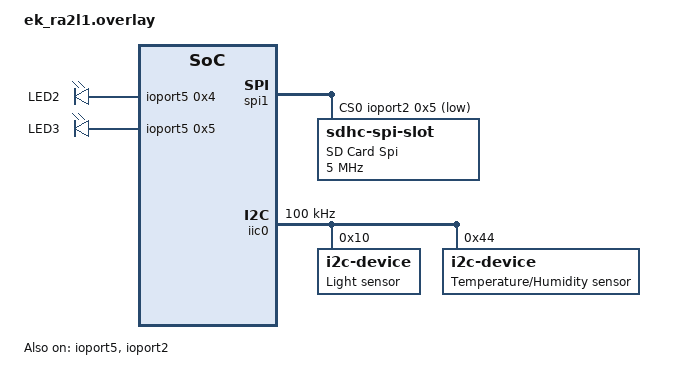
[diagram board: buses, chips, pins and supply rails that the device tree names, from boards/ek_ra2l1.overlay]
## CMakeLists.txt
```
cmake_minimum_required(VERSION 3.20.0)

list(APPEND BOARD_ROOT C:\\Users\\JohanneVIGNY\\ZephyrRTOS\\zephyr)  # Define path to board

set(BUILD_MODE "release" CACHE STRING "Build mode: debug or release")   # set build mode to release by default

if(BUILD_MODE STREQUAL "debug")
  set(CONF_FILE "prj.conf prj_debug.conf")                      # Enable console log via uart on kconfig

  if(BOARD STREQUAL nxg_court)
    set(DTC_OVERLAY_FILE "boards/nxg_court_debug.overlay")        # Enable uart in devicetree
  endif()
elseif(BUILD_MODE STREQUAL "release")
  set(CONF_FILE "prj.conf prj_release.conf")                    # Disable default console log via uart
else()
  message(FATAL_ERROR "Invalid BUILD_MODE: ${BUILD_MODE}. Use 'debug' or 'release'.")   # Error if build mode unknown
endif()

set(CONF_FILE ${CONF_FILE} CACHE INTERNAL "Merged config file list")    # merge default prj.conf with the one to enable or disable uart

find_package(Zephyr)    # pull zephyr and create a tagret named 'app'
project(my-app)     # Must be call after the previous line to avoid conflict
                    # Define my CMake application project

if(BUILD_MODE STREQUAL "debug")                             # If debug mode enable add macro Debug
    target_compile_definitions(app PRIVATE DEBUG=1)
endif()

target_sources(app PRIVATE src/main.c
                            src/lum_sensor.c
                            src/temp_hum_sensor.c
                            src/sd_card.c
                            src/lora.c
                            src/spi.c
                            ../../common/measures_logger/measures_logger.c) 

target_include_directories(app PRIVATE src ../../common/measures_logger/)
```

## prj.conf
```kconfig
CONFIG_I2C=y
CONFIG_GPIO=y
CONFIG_SPI=y
CONFIG_LORA=y
CONFIG_LORAWAN=y
CONFIG_LORAMAC_REGION_EU868=y
CONFIG_SYSTEM_WORKQUEUE_STACK_SIZE=2048
CONFIG_SDHC=y
CONFIG_SPI_SDHC=y
CONFIG_DISK_ACCESS=y
CONFIG_DISK_DRIVERS=y
CONFIG_FILE_SYSTEM=y
CONFIG_FAT_FILESYSTEM_ELM=y

CONFIG_MAIN_STACK_SIZE=4096

# CONFIG_PM_CPU_OPS=y
# CONFIG_PM_CPU_OPS_LOG_LEVEL_DBG=y
# CONFIG_PM_DEVICE_SYSTEM_MANAGED=y
# CONFIG_PM=y
# CONFIG_PM_DEVICE=y
# CONFIG_PM_DEVICE_RUNTIME=y
# CONFIG_PM_DEVICE_LOG_LEVEL_DBG=y

CONFIG_POWEROFF=y
```

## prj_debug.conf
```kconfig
CONFIG_LOG=y
CONFIG_LOG_MODE_IMMEDIATE=y
CONFIG_SPI_LOG_LEVEL_DBG=y
CONFIG_SDHC_LOG_LEVEL_DBG=y
# CONFIG_BOOT_CLEAR_SCREEN=y
# CONFIG_LORA_LOG_LEVEL_DBG=y
CONFIG_LORAWAN_LOG_LEVEL_DBG=y
CONFIG_DEBUG=y
CONFIG_DEBUG_INFO=y

# CONFIG_USE_SEGGER_RTT=y
# CONFIG_LOG_BACKEND_RTT=y
CONFIG_UART_CONSOLE=n
CONFIG_RTT_CONSOLE=y
# CONFIG_LOG_BACKEND_UART=n
```

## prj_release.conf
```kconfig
CONFIG_SERIAL=n
CONFIG_UART_INTERRUPT_DRIVEN=n
CONFIG_UART_CONSOLE=n
CONFIG_CONSOLE=n
CONFIG_BOOT_BANNER=n
CONFIG_PRINTK=n
```

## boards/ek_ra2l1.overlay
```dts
/ {
	leds {
		vcc_sensor: led2 {
			gpios = < &ioport5 0x4 GPIO_ACTIVE_HIGH >;
			label = "LED2";
		};
		vcc_sd: led3 {
			gpios = < &ioport5 0x5 GPIO_ACTIVE_HIGH >;
			label = "LED3";
		};
	};
	soc {
		spi1: spi@40072100 {
			compatible = "renesas,ra-spi";
			#address-cells = < 0x1 >;
			#size-cells = < 0x0 >;
			channel = < 0x1 >;
			interrupts = < 12 0x1 >, < 13 0x1 >, < 14 0x1 >, < 15 0x1 >;
			interrupt-names = "rxi", "txi", "tei", "eri";
			reg = < 0x40072100 0x100 >;
			status = "okay";
			pinctrl-0 = < &spi1_default >;
			pinctrl-names = "default";
			cs-gpios = < &ioport2 0x5 GPIO_ACTIVE_LOW >;

			sd_card: sd_card@0 {
				compatible = "zephyr,sdhc-spi-slot";
				label = "SD Card Spi";
				reg = <0>;
				status = "okay";
				mmc {
					compatible = "zephyr,sdmmc-disk";
					disk-name = "SD";
					status = "okay";
				};
				spi-max-frequency = <5000000>;
			};
		};

		iic0: iic0@40053000 {
			status = "okay";
			compatible = "renesas,ra-iic";
			clock-frequency = < 100000 >;
			reg = < 0x40053000 0x100 >;
			#address-cells = < 0x1 >;
			#size-cells = < 0x0 >;
			interrupts = < 0x8 0x1 >, < 0x9 0x1 >, < 0xa 0x1 >, < 0xb 0x1 >;
			interrupt-names = "rxi", "txi", "tei", "eri";

			channel = < 0x0 >;
			pinctrl-0 = < &iic0_default >;
			pinctrl-names = "default";
			
			lum_sensor: lum_sensor@10 {
				compatible = "i2c-device";
				label = "Light sensor";
				reg = <0x10>;
			};
			temp_sensor: temp_sensor@44 {
				compatible = "i2c-device";
				label = "Temperature/Humidity sensor";
				reg = <0x44>;
			};
		};
	};
};

&ioport5 {
	status = "okay";
};

&ioport2 {
	status = "okay";
};

&pinctrl {
	iic0_default: iic0_default {
		group1 {
			psels = <RA_PSEL(RA_PSEL_I2C, 4, 8)>,	// SCL
				<RA_PSEL(RA_PSEL_I2C, 4, 7)>;		// SDA
		};
	};
	spi1_default: spi1_default{
		group1 {
			psels = <RA_PSEL(RA_PSEL_SPI, 2, 4)>,	// SCK
				<RA_PSEL(RA_PSEL_SPI, 2, 3)>,		// MOSI
				<RA_PSEL(RA_PSEL_SPI, 2, 2)>;		// MISO
		};
	};
};
```

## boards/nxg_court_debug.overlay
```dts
&sercom0 {
	status = "okay";
};
```

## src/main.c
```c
#include "lum_sensor.h"
#include "measures_logger.h"
#include "temp_hum_sensor.h"
#include "sd_card.h"
#include "lora.h"
#include "spi.h"
#include <zephyr/sys/poweroff.h>

static FATFS fat_fs;

static struct fs_mount_t mp = {
    .type = FS_FATFS,
    .fs_data = &fat_fs,
    .mnt_point = "/SD:",
};

void BoardInitPeriph(void)
{
    const struct device *porta = DEVICE_DT_GET(DT_ALIAS(port_a));
    const struct device *portb = DEVICE_DT_GET(DT_ALIAS(port_b));

	// Magnet detector
    gpio_pin_configure(porta, 2, GPIO_OUTPUT_INACTIVE);

	// Micro
    gpio_pin_configure(porta, 10, GPIO_INPUT | GPIO_PULL_DOWN);
    gpio_pin_configure(porta, 7, GPIO_INPUT | GPIO_PULL_DOWN);
    gpio_pin_configure(porta, 6, GPIO_OUTPUT_ACTIVE);

    gpio_pin_configure(portb, 8, GPIO_OUTPUT_INACTIVE);

    gpio_pin_configure(portb, 3, GPIO_OUTPUT_ACTIVE);

    gpio_pin_configure(porta, 22, GPIO_OUTPUT_INACTIVE);

    gpio_pin_configure(porta, 28, GPIO_OUTPUT_INACTIVE);

    gpio_pin_configure(porta, 25, GPIO_OUTPUT_ACTIVE);

    gpio_pin_configure(portb, 2, GPIO_OUTPUT_ACTIVE);

    gpio_pin_configure(porta, 11, GPIO_OUTPUT_INACTIVE);

    // LED
    gpio_pin_configure(porta, 24, GPIO_OUTPUT_ACTIVE);
    gpio_pin_configure(porta, 27, GPIO_OUTPUT_ACTIVE);
    gpio_pin_configure(porta, 18, GPIO_OUTPUT_INACTIVE);
    gpio_pin_configure(porta, 14, GPIO_OUTPUT_ACTIVE);
    gpio_pin_configure(porta, 19, GPIO_OUTPUT_ACTIVE);

    gpio_pin_configure(portb, 9, GPIO_INPUT | GPIO_PULL_DOWN);
    gpio_pin_configure(porta, 23, GPIO_INPUT | GPIO_PULL_DOWN);
    gpio_pin_configure(porta, 5, GPIO_INPUT | GPIO_PULL_DOWN);
    gpio_pin_configure(portb, 23, GPIO_INPUT | GPIO_PULL_DOWN);
    gpio_pin_configure(porta, 3, GPIO_INPUT | GPIO_PULL_UP);

    gpio_pin_configure(portb, 22, GPIO_INPUT | GPIO_PULL_DOWN);

    spi_deinit();
}

bool is_board_ready(const struct i2c_dt_spec *lum_device, const struct i2c_dt_spec *temp_device,
                const struct gpio_dt_spec *vcc_sensor, const struct gpio_dt_spec *vcc_sd)
{
    if (!device_is_ready(temp_device->bus))
        return false; 
    if (!device_is_ready(lum_device->bus))
        return false;
    if (!gpio_is_ready_dt(vcc_sensor))
        return false;
    if (!gpio_is_ready_dt(vcc_sd))
        return false;
    return true;
}

int main()
{
    const struct i2c_dt_spec lum_device = I2C_DT_SPEC_GET(I2C_LUM_NODE);
    const struct i2c_dt_spec temp_device = I2C_DT_SPEC_GET(I2C_TEMP_NODE);
    const struct gpio_dt_spec vcc_sensor = GPIO_DT_SPEC_GET(DT_NODELABEL(vcc_sensor), gpios);
    const struct gpio_dt_spec vcc_sd = GPIO_DT_SPEC_GET(DT_NODELABEL(vcc_sd), gpios);
    
    measure_t current_measure = {.TEMP_HUM_SENSOR_EN = 1, .LUM_SENSOR_EN = 0};
    
    BoardInitPeriph();
    if (!is_board_ready(&lum_device, &temp_device, &vcc_sensor, &vcc_sd))
    {
    #ifdef DEBUG
        printf("Board is not ready\n");
    #endif
        return 1;
    }

	measures_logger_init(1);
    
    while (1)
    {
        k_sleep(K_MSEC(1000));

        if (current_measure.LUM_SENSOR_EN && init_and_read_lum_sensor(&lum_device, &vcc_sensor,
                    &current_measure.brightness) == 1)
            return 1;
        if (current_measure.TEMP_HUM_SENSOR_EN && read_temp_sensor(&temp_device, &current_measure.temperature,
                    &current_measure.humidity) == 1)
            return 1;
        measures_logger_write(&current_measure);
        size_t count = measures_logger_count();
        uint16_t size = measures_logger_get_size();
        if (count >= size)
        {
            write_in_sd_card(&fat_fs, &mp, &vcc_sd);
        }
    }
    return 0;
}
```

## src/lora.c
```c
#include <zephyr/drivers/lora.h>
#include <zephyr/lorawan/lorawan.h>
#include <zephyr/logging/log.h>
#include "spi.h"

LOG_MODULE_REGISTER(lorawan_test);

#define LORAWAN_DEV_EUI		{ 0x70, 0xB3, 0xD5, 0x40, 0xF6, 0x06,\
                    0x38, 0x02 }
#define LORAWAN_APP_EUI		{  0x70, 0xB3, 0xD5, 0x40, 0xFC, 0xAD,\
                    0x56, 0xDF }
#define LORAWAN_APP_KEY		{ 0xF2, 0x98, 0x99, 0xFA, 0x83, 0x64,\
                    0xA8, 0x5F, 0xE0, 0x8E, 0xA6, 0x55, 0x3B, 0xF9, 0xE1, 0x45 }

static void dl_callback(uint8_t port, uint8_t flags, int16_t rssi, int8_t snr, uint8_t len,
			const uint8_t *hex_data)
{
	printf("Port %d, Pending %d, RSSI %ddB, SNR %ddBm, Time %d, size %d\n", port,
		flags & LORAWAN_DATA_PENDING, rssi, snr, !!(flags & LORAWAN_TIME_UPDATED), len);
	if (hex_data) {
		LOG_HEXDUMP_INF(hex_data, len, "Payload: ");
	}
}

int lora_test_join()
{
    uint8_t dev_eui[] = LORAWAN_DEV_EUI;
	uint8_t app_eui[] = LORAWAN_APP_EUI;
	uint8_t app_key[] = LORAWAN_APP_KEY;
    struct lorawan_join_config config_lora;
    char data[] = "send message";
    struct lorawan_downlink_cb downlink_cb = {
		.port = LW_RECV_PORT_ANY,
		.cb = dl_callback
	};
    int ret;

    config_lora.mode = LORAWAN_ACT_OTAA;
    config_lora.dev_eui = dev_eui;
    config_lora.otaa.join_eui = app_eui;
    config_lora.otaa.app_key = app_key;
    config_lora.otaa.nwk_key = app_key;
    config_lora.otaa.dev_nonce = 0;

    spi_init();

    ret = lorawan_start();
    if (ret < 0) {
		printf("lorawan_start failed: %d", ret);
        spi_deinit();
		return 1;
	}
    
    lorawan_register_downlink_callback(&downlink_cb);
    ret = lorawan_join(&config_lora);
    if (ret < 0) {
		printf("lorawan_join_network failed: %d", ret);
        spi_deinit();
		return 1;
	}
    while (1)
    {
        ret = lorawan_send(2, data, sizeof(data),
                       LORAWAN_MSG_UNCONFIRMED);
        if (ret < 0) {
            printf("lorawan_send failed: %d", ret);
        }
        k_msleep(10000);
    }

    spi_deinit();
    return 0;
}

void lora_cw()
{
    const struct device *lora = DEVICE_DT_GET(DT_NODELABEL(lora0));

    spi_init();
    printf("begin continuous wave\n");
    int ret = lora_test_cw(lora, 868000000, 14, 2);     //Use EU868 norme for cw
    if (ret != 0)
    {
        printf("failed continuous wave lora: %d\n", ret);
        spi_deinit();
        return;
    }
    spi_deinit();
    printf("end continuous wave\n");
}
```

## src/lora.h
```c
#ifndef LORA_H
# define LORA_H

int lora_test_join();
void lora_cw();

#endif 
```

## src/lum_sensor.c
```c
#include "lum_sensor.h"

int init_lum_sensor(const struct i2c_dt_spec *lum_device, const struct gpio_dt_spec *vcc_sensor)
{
    // Init Vcc sensor to then configure i2c device(light sensor)
    if (gpio_pin_configure_dt(vcc_sensor, GPIO_OUTPUT_ACTIVE) < 0) 
        return 1;

    k_msleep(5);
    
    uint8_t config[3] = {0x00, 0x00, 0x08}; // { commmand config, config LSB, config MSB }, config => gain 1, IT => 100ms, Pers => 1

    if (i2c_write_dt(lum_device, config, 3) != 0)
        return 1;
    return 0;
}

uint8_t read_lum_sensor(const struct i2c_dt_spec *lum_device, uint16_t *light)
{
    uint8_t sensor_reg = 0x04;
    uint8_t lum_reading[2]= {0};

    if(i2c_write_read_dt(lum_device, &sensor_reg, 1, lum_reading, 2) != 0){
    #ifdef DEBUG
        printf("Failed to write/read I2C device address \n");
    #endif
        return 1;
    }
    *light = ((uint16_t)lum_reading[1] << 8) + lum_reading[0];
    *light = (uint32_t) (*light) * 82/100;
#ifdef DEBUG
    printf("Light sensor: %d\n", *light);
#endif
    return 0;
}

uint8_t init_and_read_lum_sensor(const struct i2c_dt_spec *lum_device, const struct gpio_dt_spec *vcc_sensor, uint16_t *light)
{
	if (init_lum_sensor(lum_device, vcc_sensor) == 1){
    #ifdef DEBUG
		printf("Init i2c error\n");
    #endif
		return 1;
	}
    k_msleep(150);
	if (read_lum_sensor(lum_device, light))
		return 1;
	
    gpio_pin_configure_dt(vcc_sensor, GPIO_INPUT | GPIO_PULL_UP);
	return 0;
}
```

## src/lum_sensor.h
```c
#ifndef LUM_SENSOR_H
# define LUM_SENSOR_H

#include <zephyr/drivers/i2c.h>
#include <zephyr/drivers/gpio.h>

#define I2C_LUM_NODE DT_NODELABEL(lum_sensor)
#define VCC_SENSOR_NODE DT_NODELABEL(vcc_sensor)

#if !DT_NODE_HAS_STATUS_OKAY(VCC_SENSOR_NODE)
#error "Unsupported board: vcc sensor devicetree nodelabel is not defined"
#endif

#if !DT_NODE_HAS_STATUS_OKAY(I2C_LUM_NODE)
#error "Unsupported board: sensor devicetree nodelabel is not defined"
#endif

int init_lum_sensor(const struct i2c_dt_spec *lum_device, const struct gpio_dt_spec *vcc_sensor);
uint8_t read_lum_sensor(const struct i2c_dt_spec *lum_device, uint16_t *light);
uint8_t init_and_read_lum_sensor(const struct i2c_dt_spec *lum_device,
            const struct gpio_dt_spec *vcc_sensor, uint16_t *light);

#endif
```

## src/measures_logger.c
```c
#include <stdio.h>
#include <string.h>

#include "measures_logger.h"
#include "temp_hum_sensor.h"

measures_stack_t m_stack;

bool measures_logger_init(const uint16_t measuring_period)
{
  uint16_t measuring_periode_min = 1;
  uint16_t measuring_periode_max = 5;

  m_stack.errorValue             = MEASURES_LOGGER_ERROR_OK;

  if (measuring_period >= measuring_periode_min &&
      measuring_period <= measuring_periode_max)  // Input value filtering
  {
    /* stack is sized to get two copy by day. */
    m_stack.size = (MEASURES_LOGGER_MAX_SIZE * measuring_periode_min) / measuring_period;
  }
  else
  {
    m_stack.size       = MEASURES_LOGGER_MAX_SIZE;
    m_stack.errorValue = MEASURES_LOGGER_INVALID_MEASURING_PERIOD;
    return MEASURES_LOGGER_RES_FAILURE;
  }
  return MEASURES_LOGGER_RES_SUCCESS;
}

size_t measures_logger_count()
{
  return m_stack.counter;
}

uint16_t measures_logger_get_size()
{
  return m_stack.size;
}

MEASURES_LOGGER_ERROR measures_logger_get_error()
{
  return m_stack.errorValue;
}

/*
 *  Summary:
 *    Read last measure from m_stack at tail index.
 */
bool measures_logger_read(measure_t *last_measure)
{
  if (m_stack.size == 0)
  {
	  m_stack.errorValue = MEASURES_LOGGER_UNINITIALIZED;
	  return MEASURES_LOGGER_RES_FAILURE;
  }
	
  if (last_measure == NULL)
  {
    m_stack.errorValue = MEASURES_LOGGER_INVALID_PARAMETER;
    return MEASURES_LOGGER_RES_FAILURE;
  }
  if (m_stack.counter <= 0)
  {
    m_stack.errorValue = MEASURES_LOGGER_NOTHING_TO_READ;
    return MEASURES_LOGGER_RES_FAILURE;
  }

  *last_measure = m_stack.measure[m_stack.tail];

  /* Reset measure */
  // m_stack.measure[m_stack.tail].datetime.date.year  = 0;
  // m_stack.measure[m_stack.tail].datetime.date.month = 0;
  // m_stack.measure[m_stack.tail].datetime.date.day   = 0;
  // m_stack.measure[m_stack.tail].datetime.time.hour  = 0;
  // m_stack.measure[m_stack.tail].datetime.time.min   = 0;
  // m_stack.measure[m_stack.tail].datetime.time.sec   = 0;
  m_stack.measure[m_stack.tail].temperature         = 0;
  m_stack.measure[m_stack.tail].humidity            = 0;
  m_stack.measure[m_stack.tail].brightness          = 0;

  /* Incrementing the index */
  m_stack.tail = (m_stack.tail + 1) % m_stack.size;
  /* Decrement counter of element in the stack */
  m_stack.counter--;

  m_stack.errorValue = MEASURES_LOGGER_ERROR_OK;
  return MEASURES_LOGGER_RES_SUCCESS;
}

/*
 *  Summary:
 *    Write new_measure to m_stack at head index.
 */
bool measures_logger_write(const measure_t *new_measure)
{
  if (m_stack.size == 0)
  {
	  m_stack.errorValue = MEASURES_LOGGER_UNINITIALIZED;
	  return MEASURES_LOGGER_RES_FAILURE;
  }
  if (new_measure == NULL)
  {
    m_stack.errorValue = MEASURES_LOGGER_INVALID_PARAMETER;
    return MEASURES_LOGGER_RES_FAILURE;
  }

  if (m_stack.counter != 0 && ((m_stack.head) % m_stack.size) == m_stack.tail)
  {
    /*Don't write on unread measure*/
    m_stack.errorValue = MEASURES_LOGGER_UNREADED_MEASURES;
    return MEASURES_LOGGER_RES_FAILURE;
  }

  m_stack.measure[m_stack.head] = *new_measure;
  m_stack.head                  = (m_stack.head + 1) % m_stack.size;
  m_stack.counter               = m_stack.counter + 1;
  m_stack.errorValue            = MEASURES_LOGGER_ERROR_OK;
  return MEASURES_LOGGER_RES_SUCCESS;
}

/*
 * Read last measure and return value as CSV line.
 */
bool measures_logger_read_CSV(char s_return[160])
{
  measure_t         measureTo_Write;
  const char        s_desactivated[]     = "DESACTIVATED";
  char              s_measure[160]       = {'\0'};
  char              s_temperature[13]    = {'\0'};
  char              s_humidity[13]       = {'\0'};
  char              s_brightness[13]     = {'\0'};

  if (s_return == NULL)
  {
    m_stack.errorValue = MEASURES_LOGGER_INVALID_PARAMETER;
    return MEASURES_LOGGER_RES_FAILURE;
  }

  bool ml_read_error = measures_logger_read(&measureTo_Write);
  if (ml_read_error == MEASURES_LOGGER_RES_FAILURE)
  {
    return MEASURES_LOGGER_RES_FAILURE;
  }

  // Temperature and humidity control
  if (measureTo_Write.TEMP_HUM_SENSOR_EN)
  {
    temp_to_string(measureTo_Write.temperature, s_temperature);
    hum_to_string(measureTo_Write.humidity, s_humidity);
  }
  else
  {
    strncpy(s_temperature, s_desactivated, sizeof(s_desactivated));
    strncpy(s_humidity, s_desactivated, sizeof(s_desactivated));
  }

  // Brightness control
  if (measureTo_Write.LUM_SENSOR_EN)
    snprintf(s_brightness, 6, "%05u", measureTo_Write.brightness);
  else
    strncpy(s_brightness, s_desactivated, sizeof(s_desactivated));

  snprintf(s_measure, 21, "%04u-%02u-%02uT%02u:%02u:%02u;",
           0,
           0,
           0,
           0,
           0,
           0);

  strncat(s_measure, s_temperature, strlen(s_temperature));
  strcat(s_measure, ";");

  strncat(s_measure, s_humidity, strlen(s_humidity));
  strcat(s_measure, ";");

  strncat(s_measure, s_brightness, strlen(s_brightness));

  strncpy(s_return, s_measure, strlen(s_measure));

  return MEASURES_LOGGER_RES_SUCCESS;
}
```

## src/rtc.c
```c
#include <zephyr/drivers/rtc.h>


static void wakeup_handler(const struct device *dev, uint16_t id, void *user_data)
{
    struct rtc_time time = {0};
    rtc_get_time(DEVICE_DT_GET(DT_NODELABEL(rtc)), &time);
	printf("Wake up by alarm. Time: %d:%d:%d\n",time.tm_hour, time.tm_min, time.tm_sec);
}

void test_rtc()
{
    const struct device *rtc = DEVICE_DT_GET(DT_NODELABEL(rtc));
    const struct rtc_time time = {
        .tm_sec = 50,
        .tm_min = 29,
        .tm_hour = 13,
        .tm_mday = 1,
        .tm_mon = 0,
        .tm_year = 121,
        .tm_wday = -1,
        .tm_yday = -1,
        .tm_isdst = -1,
        .tm_nsec = 0,
    };
    const struct rtc_time alarm_time = {
        .tm_sec = 10,
        .tm_min = 29,
        .tm_hour = 13,
        .tm_mday = 1,
        .tm_mon = 0,
        .tm_year = 121,
        .tm_wday = -1,
        .tm_yday = -1,
        .tm_isdst = -1,
        .tm_nsec = 0,
    };
    rtc_set_time(rtc, &time);
    rtc_alarm_set_time(rtc, 0, RTC_ALARM_TIME_MASK_SECOND, &alarm_time);
	rtc_alarm_set_callback(rtc, 0, wakeup_handler, NULL);
}
```

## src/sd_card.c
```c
#include "sd_card.h"
#include "spi.h"

// Uncomment all code comment to run on custom board nxg_court
static const struct gpio_dt_spec cs = GPIO_DT_SPEC_GET(DT_PATH(zephyr_user), cs_gpios); // comment for renesas ek_ra2l1

int lsdir(const char *path)
{
	struct fs_dir_t dirp;
	static struct fs_dirent entry;

	fs_dir_t_init(&dirp);

	if (fs_opendir(&dirp, path)) {
		printf("Error opening dir %s\n", path);
		return 1;
	}

	printf("\nListing dir %s ...\n", path);
	for (;;) {
		if (fs_readdir(&dirp, &entry) || entry.name[0] == 0)
			break;

		if (entry.type == FS_DIR_ENTRY_DIR) {
			printf("[DIR ] %s\n", entry.name);
		} else {
			printf("[FILE] %s (size = %zu)\n",
				entry.name, entry.size);
		}
	}
	fs_closedir(&dirp);
	return 0;
}

uint8_t get_disk_info()
{
    const char *disk_pdrv = "SD";
    uint64_t memory_size_mb;
    uint32_t block_count;
    uint32_t block_size;

    if (disk_access_ioctl(disk_pdrv, DISK_IOCTL_CTRL_INIT, NULL) != 0) {
        printf("Error init device\n");
        return 1;
    }
    if (disk_access_ioctl(disk_pdrv,DISK_IOCTL_GET_SECTOR_COUNT, &block_count) != 0) {
        printf("Error get sector count\n");
        return 1;
    }
    printf("Block count %u\n", block_count);
    if (disk_access_ioctl(disk_pdrv, DISK_IOCTL_GET_SECTOR_SIZE, &block_size)) {
        printf("Unable to get sector size\n");
        return 1;
    }
    printf("Sector size %u bytes\n", block_size);

    memory_size_mb = (uint64_t)block_count * block_size;
	printf("Memory Size(MB) %u\n", (uint32_t)(memory_size_mb >> 20));

    if (disk_access_ioctl(disk_pdrv, DISK_IOCTL_CTRL_DEINIT, NULL) != 0) {
        printf("Storage deinit ERROR!\n");
        return 1;
    }
    return 0;
}

bool is_card_detected()
{
    // comment for renesas ek_ra2l1
	gpio_pin_configure_dt(&cs, GPIO_INPUT);
	k_msleep(1);
	bool is_sd_card = gpio_pin_get_raw(cs.port, cs.pin);
#ifdef DEBUG
	printf("Card detected :%d\n", is_sd_card);
#endif

	gpio_pin_configure_dt(&cs, GPIO_OUTPUT_ACTIVE);

	return is_sd_card;
    // end comment
    return true;
}

static void close_unmount_file(struct fs_file_t *file, struct fs_mount_t *mp, const struct gpio_dt_spec *vcc_sd)
{
    fs_close(file);
    fs_unmount(mp);
    spi_deinit();
    gpio_pin_configure_dt(&cs, GPIO_INPUT | GPIO_PULL_DOWN); // comment for renesas ek_ra2l1
    if (gpio_pin_configure_dt(vcc_sd, GPIO_OUTPUT_INACTIVE) < 0) 
        return;
} 

int write_in_sd_card(FATFS *fat_fs, struct fs_mount_t *mp, const struct gpio_dt_spec *vcc_sd)
{
    char currentfilename[32] = {'\0'};
    char csvline[168] = {'\0'};
    struct fs_file_t file;
    struct fs_dirent empty_file;

    // Init Vcc sd card to then configure spi device(sd card)
    if (gpio_pin_configure_dt(vcc_sd, GPIO_OUTPUT_ACTIVE) < 0) 
        return 1;
    k_msleep(1);

    if (!is_card_detected())
    {
    #ifdef DEBUG
        printf("Card not detected\n");
    #endif
        gpio_pin_configure_dt(&cs, GPIO_INPUT | GPIO_PULL_DOWN);
        gpio_pin_configure_dt(vcc_sd, GPIO_OUTPUT_INACTIVE);
        return 1;
    }
    spi_init();

    if (fs_mount(mp) != 0) {
    #ifdef DEBUG
        printf("Error mounting disk\n");
    #endif
        gpio_pin_configure_dt(&cs, GPIO_INPUT | GPIO_PULL_DOWN);
        gpio_pin_configure_dt(vcc_sd, GPIO_OUTPUT_INACTIVE);
        spi_deinit();
        return 1;
    }
    
    fs_file_t_init(&file);
    snprintf(currentfilename, 29, "/SD:/b.csv");
    if (fs_open(&file, currentfilename, FS_O_CREATE | FS_O_APPEND | FS_O_WRITE) != 0)
    {
    #ifdef DEBUG
        printf("Error failed to open filename: %s\n", currentfilename);
    #endif
        return close_unmount_file(&file, mp, vcc_sd), 1;
    }
    if (fs_stat(currentfilename, &empty_file) != 0)
    {
    #ifdef DEBUG
        printf("Error stat file size\n");
    #endif
        return close_unmount_file(&file, mp, vcc_sd), 1;
    }
    if (empty_file.size == 0)
    {
        fs_write(&file, "T(degC);H(%%);Luminosity(lux)\r\n", strlen("T(degC);H(%%);Luminosity(lux)\r\n"));
    }
    uint16_t ml_size = measures_logger_get_size();
    for (int i = 0; i < ml_size; i++)
    {
        memset(csvline, 0, sizeof(csvline));
        bool ml_read_err = measures_logger_read_CSV(csvline);
        if (ml_read_err == MEASURES_LOGGER_RES_FAILURE)
        {
            MEASURES_LOGGER_ERROR ml_err = measures_logger_get_error();
            if (ml_err == MEASURES_LOGGER_ERROR_OK)
            {}
            else if (ml_err == MEASURES_LOGGER_NOTHING_TO_READ)
                return close_unmount_file(&file, mp, vcc_sd), 1;
            else
                return close_unmount_file(&file, mp, vcc_sd), 1;
        }
        strcat(csvline, "\r\n");
    
    #ifdef DEBUG
        printf("res : %s\n", csvline);
    #endif
        fs_write(&file, csvline, strlen(csvline));
    }
    close_unmount_file(&file, mp, vcc_sd);
    return 0;
}
```

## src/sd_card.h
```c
#ifndef SD_CARD_H
# define SD_CARD_H

#include <zephyr/drivers/spi.h>
#include <zephyr/storage/disk_access.h>
#include <zephyr/fs/fs.h>
#include <ff.h>
#include "measures_logger.h"

int lsdir(const char *path);
uint8_t get_disk_info();
int write_in_sd_card(FATFS *fat_fs, struct fs_mount_t *mp, const struct gpio_dt_spec *vcc_sd);
bool is_card_detected();

#endif
```

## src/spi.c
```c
#include "spi.h"

int spi_sam0_init(const struct device *dev);

void spi_deinit()
{
    const struct device *porta = DEVICE_DT_GET(DT_ALIAS(port_a));
    const struct device *portb = DEVICE_DT_GET(DT_ALIAS(port_b));

    // SPI
    gpio_pin_configure(portb, 11, GPIO_INPUT | GPIO_PULL_DOWN);     // miso
    gpio_pin_configure(porta, 12, GPIO_INPUT | GPIO_PULL_DOWN);     // mosi
    gpio_pin_configure(porta, 13, GPIO_INPUT | GPIO_PULL_DOWN);     // sck
}

void spi_init()
{
    spi_sam0_init(DEVICE_DT_GET(DT_NODELABEL(sercom4)));
    k_msleep(1);
}
```

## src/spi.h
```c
#ifndef SPI_H
# define SPI_H

#include <zephyr/drivers/gpio.h>

void spi_deinit();
void spi_init();

#endif
```

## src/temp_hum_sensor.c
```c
#include "temp_hum_sensor.h"

uint8_t read_temp_sensor(const struct i2c_dt_spec *temp_device, uint16_t *temp, uint16_t *humidity)
{
    uint8_t sensor_reg = 0xFD;
    uint8_t reading[6]= {0};
    uint32_t u32_temp;
	  uint32_t u32_humidity;

    // function i2c_write_read_dt doesn't generate a stop condition before switching to a read, no supported by all i2c sensor
    if(i2c_write_dt(temp_device, &sensor_reg, 1) != 0){
      printf("Failed to write/read I2C device address\n");
      return 1;
    }
    k_msleep(10);
    if (i2c_read_dt(temp_device, reading, 6) != 0)
    {
      printf("Error invalid number of bytes read\n");
      return 1;
    }

    //Add 100�C to temp and temp multiple by 10 to keep float precision
    (*temp) = (reading[0] << 8) + reading[1];
    u32_temp = (uint32_t)(((*temp) * 267 / 10000) + 1000);
    u32_temp = u32_temp - 450;
    (*temp) = (uint16_t)u32_temp;
    //(*temp) = -45 + 175 * (*temp) / 65535;

    //Humidity multiple by 10 to keep float precision
    (*humidity) = (reading[3] << 8) + reading[4];
    u32_humidity = ((uint32_t)((*humidity) * 1907) - 6000000) / 100000;
    (*humidity) = (uint16_t)u32_humidity;
    //(*humidity) = -6 + 125 * (*humidity) / 65535;

    printf("Temperature: %d, Humidity %d\n", ((*temp) - 1000) / 10, (*humidity)/ 10);
    return 0;
}

void ftoa(float fnum, char res[5])
{
  float tmpVal  = (fnum < 0) ? -fnum : fnum;

  int   tmpInt1 = tmpVal;            // Get the integer
  float tmpFrac = tmpVal - tmpInt1;  // Get fraction
  int   tmpInt2 = (tmpFrac * 100);   // Turn into integer

  snprintf(res, 5, "%02d.%01d", tmpInt1, tmpInt2);
}

/**
 * @brief convert temperature from u16 to string readable format : +AA.A
 */
void temp_to_string(const uint16_t u16_temp, char *s_temp)
{
  float f_temperature;
  char  s_temperature[5];
  char *tmpSign;

  f_temperature = ((float)(u16_temp - 1000) / 10);
  ftoa(f_temperature, s_temperature);

  tmpSign = (f_temperature < 0) ? "-" : "+";

  snprintf(s_temp, 6, "%s%s", tmpSign, s_temperature);
}

/**
 * @brief convert humidity from u16 to string readable format : AA.A
 */
void hum_to_string(const uint16_t u16_hum, char s_hum[5])
{
  float f_humidity;

  f_humidity = ((float)u16_hum) / 10;
  ftoa(f_humidity, s_hum);
}
```
